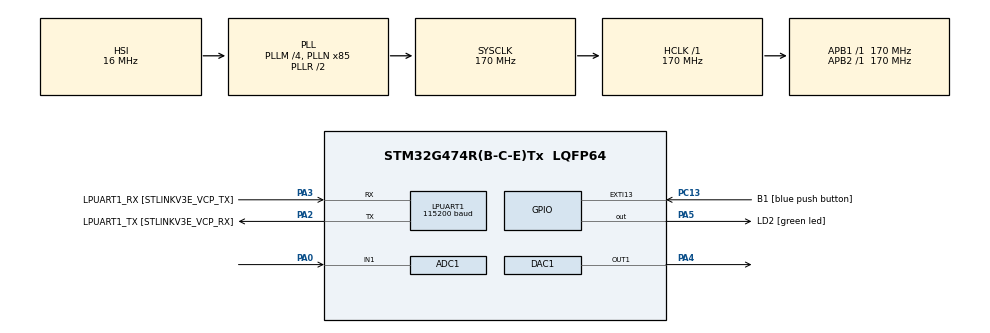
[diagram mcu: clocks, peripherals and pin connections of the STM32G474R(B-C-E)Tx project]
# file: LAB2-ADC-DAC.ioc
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ADC1.Channel-0\#ChannelRegularConversion=ADC_CHANNEL_1
ADC1.NbrOfConversionFlag=1
ADC1.OffsetNumber-0\#ChannelRegularConversion=ADC_OFFSET_NONE
ADC1.Rank-0\#ChannelRegularConversion=1
ADC1.Resolution=ADC_RESOLUTION_10B
ADC1.SamplingTime-0\#ChannelRegularConversion=ADC_SAMPLETIME_2CYCLES_5
ADC1.master=1
LPUART1.BaudRate=115200
LPUART1.WordLength=UART_WORDLENGTH_8B
Mcu.Family=STM32G4
Mcu.Name=STM32G474R(B-C-E)Tx
Mcu.Package=LQFP64
NVIC.EXTI15_10_IRQn=true\:0\:0\:false\:false\:true\:true\:true\:true
NVIC.PriorityGroup=NVIC_PRIORITYGROUP_4
PA0.Mode=IN1-Single-Ended
PA0.Signal=ADC1_IN1
PA13.GPIO_Label=T_SWDIO
PA13.Mode=Serial_Wire
PA13.Signal=SYS_JTMS-SWDIO
PA14.GPIO_Label=T_SWCLK
PA14.Mode=Serial_Wire
PA14.Signal=SYS_JTCK-SWCLK
PA2.GPIO_Label=LPUART1_TX [STLINKV3E_VCP_RX]
PA2.Mode=Asynchronous
PA2.Signal=LPUART1_TX
PA3.GPIO_Label=LPUART1_RX [STLINKV3E_VCP_TX]
PA3.Mode=Asynchronous
PA3.Signal=LPUART1_RX
PA4.Signal=COMP_DAC11_group
PA5.GPIO_Label=LD2 [green led]
PA5.Signal=GPIO_Output
PB3.GPIO_Label=T_SWO
PB3.Signal=SYS_JTDO-SWO
PC13.GPIO_Label=B1 [blue push button]
PC13.Signal=GPXTI13
PC14-OSC32_IN.Mode=LSE-External-Oscillator
PC14-OSC32_IN.Signal=RCC_OSC32_IN
PC15-OSC32_OUT.Mode=LSE-External-Oscillator
PC15-OSC32_OUT.Signal=RCC_OSC32_OUT
PF0-OSC_IN.Mode=HSE-External-Oscillator
PF0-OSC_IN.Signal=RCC_OSC_IN
PF1-OSC_OUT.Mode=HSE-External-Oscillator
PF1-OSC_OUT.Signal=RCC_OSC_OUT
ProjectManager.HeapSize=0x200
ProjectManager.StackSize=0x400
ProjectManager.TargetToolchain=STM32CubeIDE
RCC.ADC12Freq_Value=170000000
RCC.ADC345Freq_Value=170000000
RCC.AHBFreq_Value=170000000
RCC.APB1Freq_Value=170000000
RCC.APB1TimFreq_Value=170000000
RCC.APB2Freq_Value=170000000
RCC.APB2TimFreq_Value=170000000
RCC.CortexFreq_Value=170000000
RCC.EXTERNAL_CLOCK_VALUE=12288000
RCC.HCLKFreq_Value=170000000
RCC.HSE_VALUE=24000000
RCC.HSI48_VALUE=48000000
RCC.HSI_VALUE=16000000
RCC.PLLM=RCC_PLLM_DIV4
RCC.PLLN=85
RCC.RTCClockSelection=RCC_RTCCLKSOURCE_LSE
RCC.SYSCLKFreq_VALUE=170000000
RCC.SYSCLKSource=RCC_SYSCLKSOURCE_PLLCLK
RCC.USBFreq_Value=170000000
RCC.VCOOutputFreq_Value=340000000
SH.COMP_DAC11_group.0=DAC1_OUT1,DAC_OUT1
VP_SYS_VS_DBSignals.Mode=DisableDeadBatterySignals
board=NUCLEO-G474RE

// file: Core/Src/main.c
/* USER CODE BEGIN Header */
/**
  ******************************************************************************
  * @file           : main.c
  * @brief          : Main program body
  ******************************************************************************
  * @attention
  *
  * Copyright (c) 2023 STMicroelectronics.
  * All rights reserved.
  *
  * This software is licensed under terms that can be found in the LICENSE file
  * in the root directory of this software component.
  * If no LICENSE file comes with this software, it is provided AS-IS.
  *
  ******************************************************************************
  */
/* USER CODE END Header */
#include "main.h"

ADC_HandleTypeDef hadc1;

DAC_HandleTypeDef hdac1;

UART_HandleTypeDef hlpuart1;

/* USER CODE BEGIN PV */
struct _ADC_tag
{
	ADC_ChannelConfTypeDef Config;
	uint16_t data;
};

struct _ADC_tag ADC1_Channel =
{
	.Config.Channel = ADC_CHANNEL_1,
	.Config.Rank = ADC_REGULAR_RANK_1,
	.Config.SamplingTime = ADC_SAMPLETIME_640CYCLES_5,
	.Config.SingleDiff = ADC_SINGLE_ENDED,
	.Config.OffsetNumber = ADC_OFFSET_NONE,
	.Config.Offset = 0,
	.data = 0
};

float Voltage_Ref =  3.3;

//ADC Variable
uint16_t ADC_Resolution = 1024;
float Voltage_Read;
float LSB_ADC;

//DAC Variable
uint16_t DAC_Resolution = 4096;
uint16_t DAC_Output = 0;
float Voltage_Output;
/* USER CODE END PV */

void SystemClock_Config(void);
static void MX_GPIO_Init(void);
static void MX_LPUART1_UART_Init(void);
static void MX_ADC1_Init(void);
static void MX_DAC1_Init(void);
/* USER CODE BEGIN PFP */
void ADC_Read_blocking();
void DAC_Update();
void OutV_to_DAC();
/* USER CODE END PFP */

int main(void)
{

  /* MCU Configuration--------------------------------------------------------*/

  /* Reset of all peripherals, Initializes the Flash interface and the Systick. */
  HAL_Init();

  /* Configure the system clock */
  SystemClock_Config();

  /* Initialize all configured peripherals */
  MX_GPIO_Init();
  MX_LPUART1_UART_Init();
  MX_ADC1_Init();
  MX_DAC1_Init();
  /* USER CODE BEGIN 2 */
  HAL_DAC_SetValue(&hdac1, DAC_CHANNEL_1, DAC_ALIGN_12B_R, 2048);
  HAL_DAC_Start(&hdac1, DAC_CHANNEL_1);
  /* USER CODE END 2 */

  /* Infinite loop */
  while (1)
  {

    /* USER CODE BEGIN 3 */
	  ADC_Read_blocking();
	  DAC_Update();
  }
  /* USER CODE END 3 */
}

void SystemClock_Config(void)
{
  RCC_OscInitTypeDef RCC_OscInitStruct = {0};
  RCC_ClkInitTypeDef RCC_ClkInitStruct = {0};

  /** Configure the main internal regulator output voltage
  */
  HAL_PWREx_ControlVoltageScaling(PWR_REGULATOR_VOLTAGE_SCALE1_BOOST);

  /** Initializes the RCC Oscillators according to the specified parameters
  * in the RCC_OscInitTypeDef structure.
  */
  RCC_OscInitStruct.OscillatorType = RCC_OSCILLATORTYPE_HSI;
  RCC_OscInitStruct.HSIState = RCC_HSI_ON;
  RCC_OscInitStruct.HSICalibrationValue = RCC_HSICALIBRATION_DEFAULT;
  RCC_OscInitStruct.PLL.PLLState = RCC_PLL_ON;
  RCC_OscInitStruct.PLL.PLLSource = RCC_PLLSOURCE_HSI;
  RCC_OscInitStruct.PLL.PLLM = RCC_PLLM_DIV4;
  RCC_OscInitStruct.PLL.PLLN = 85;
  RCC_OscInitStruct.PLL.PLLP = RCC_PLLP_DIV2;
  RCC_OscInitStruct.PLL.PLLQ = RCC_PLLQ_DIV2;
  RCC_OscInitStruct.PLL.PLLR = RCC_PLLR_DIV2;
  if (HAL_RCC_OscConfig(&RCC_OscInitStruct) != HAL_OK)
  {
    Error_Handler();
  }

  /** Initializes the CPU, AHB and APB buses clocks
  */
  RCC_ClkInitStruct.ClockType = RCC_CLOCKTYPE_HCLK|RCC_CLOCKTYPE_SYSCLK
                              |RCC_CLOCKTYPE_PCLK1|RCC_CLOCKTYPE_PCLK2;
  RCC_ClkInitStruct.SYSCLKSource = RCC_SYSCLKSOURCE_PLLCLK;
  RCC_ClkInitStruct.AHBCLKDivider = RCC_SYSCLK_DIV1;
  RCC_ClkInitStruct.APB1CLKDivider = RCC_HCLK_DIV1;
  RCC_ClkInitStruct.APB2CLKDivider = RCC_HCLK_DIV1;

  if (HAL_RCC_ClockConfig(&RCC_ClkInitStruct, FLASH_LATENCY_4) != HAL_OK)
  {
    Error_Handler();
  }
}

static void MX_ADC1_Init(void)
{

  ADC_MultiModeTypeDef multimode = {0};
  ADC_ChannelConfTypeDef sConfig = {0};

  /** Common config
  */
  hadc1.Instance = ADC1;
  hadc1.Init.ClockPrescaler = ADC_CLOCK_SYNC_PCLK_DIV4;
  hadc1.Init.Resolution = ADC_RESOLUTION_10B;
  hadc1.Init.DataAlign = ADC_DATAALIGN_RIGHT;
  hadc1.Init.GainCompensation = 0;
  hadc1.Init.ScanConvMode = ADC_SCAN_DISABLE;
  hadc1.Init.EOCSelection = ADC_EOC_SINGLE_CONV;
  hadc1.Init.LowPowerAutoWait = DISABLE;
  hadc1.Init.ContinuousConvMode = DISABLE;
  hadc1.Init.NbrOfConversion = 1;
  hadc1.Init.DiscontinuousConvMode = DISABLE;
  hadc1.Init.ExternalTrigConv = ADC_SOFTWARE_START;
  hadc1.Init.ExternalTrigConvEdge = ADC_EXTERNALTRIGCONVEDGE_NONE;
  hadc1.Init.DMAContinuousRequests = DISABLE;
  hadc1.Init.Overrun = ADC_OVR_DATA_PRESERVED;
  hadc1.Init.OversamplingMode = DISABLE;
  if (HAL_ADC_Init(&hadc1) != HAL_OK)
  {
    Error_Handler();
  }

  /** Configure the ADC multi-mode
  */
  multimode.Mode = ADC_MODE_INDEPENDENT;
  if (HAL_ADCEx_MultiModeConfigChannel(&hadc1, &multimode) != HAL_OK)
  {
    Error_Handler();
  }

  /** Configure Regular Channel
  */
  sConfig.Channel = ADC_CHANNEL_1;
  sConfig.Rank = ADC_REGULAR_RANK_1;
  sConfig.SamplingTime = ADC_SAMPLETIME_2CYCLES_5;
  sConfig.SingleDiff = ADC_SINGLE_ENDED;
  sConfig.OffsetNumber = ADC_OFFSET_NONE;
  sConfig.Offset = 0;
  if (HAL_ADC_ConfigChannel(&hadc1, &sConfig) != HAL_OK)
  {
    Error_Handler();
  }

}

static void MX_DAC1_Init(void)
{

  DAC_ChannelConfTypeDef sConfig = {0};

  /** DAC Initialization
  */
  hdac1.Instance = DAC1;
  if (HAL_DAC_Init(&hdac1) != HAL_OK)
  {
    Error_Handler();
  }

  /** DAC channel OUT1 config
  */
  sConfig.DAC_HighFrequency = DAC_HIGH_FREQUENCY_INTERFACE_MODE_AUTOMATIC;
  sConfig.DAC_DMADoubleDataMode = DISABLE;
  sConfig.DAC_SignedFormat = DISABLE;
  sConfig.DAC_SampleAndHold = DAC_SAMPLEANDHOLD_DISABLE;
  sConfig.DAC_Trigger = DAC_TRIGGER_NONE;
  sConfig.DAC_Trigger2 = DAC_TRIGGER_NONE;
  sConfig.DAC_OutputBuffer = DAC_OUTPUTBUFFER_ENABLE;
  sConfig.DAC_ConnectOnChipPeripheral = DAC_CHIPCONNECT_EXTERNAL;
  sConfig.DAC_UserTrimming = DAC_TRIMMING_FACTORY;
  if (HAL_DAC_ConfigChannel(&hdac1, &sConfig, DAC_CHANNEL_1) != HAL_OK)
  {
    Error_Handler();
  }

}

static void MX_LPUART1_UART_Init(void)
{

  hlpuart1.Instance = LPUART1;
  hlpuart1.Init.BaudRate = 115200;
  hlpuart1.Init.WordLength = UART_WORDLENGTH_8B;
  hlpuart1.Init.StopBits = UART_STOPBITS_1;
  hlpuart1.Init.Parity = UART_PARITY_NONE;
  hlpuart1.Init.Mode = UART_MODE_TX_RX;
  hlpuart1.Init.HwFlowCtl = UART_HWCONTROL_NONE;
  hlpuart1.Init.OneBitSampling = UART_ONE_BIT_SAMPLE_DISABLE;
  hlpuart1.Init.ClockPrescaler = UART_PRESCALER_DIV1;
  hlpuart1.AdvancedInit.AdvFeatureInit = UART_ADVFEATURE_NO_INIT;
  if (HAL_UART_Init(&hlpuart1) != HAL_OK)
  {
    Error_Handler();
  }
  if (HAL_UARTEx_SetTxFifoThreshold(&hlpuart1, UART_TXFIFO_THRESHOLD_1_8) != HAL_OK)
  {
    Error_Handler();
  }
  if (HAL_UARTEx_SetRxFifoThreshold(&hlpuart1, UART_RXFIFO_THRESHOLD_1_8) != HAL_OK)
  {
    Error_Handler();
  }
  if (HAL_UARTEx_DisableFifoMode(&hlpuart1) != HAL_OK)
  {
    Error_Handler();
  }

}

static void MX_GPIO_Init(void)
{
  GPIO_InitTypeDef GPIO_InitStruct = {0};

  /* GPIO Ports Clock Enable */
  __HAL_RCC_GPIOC_CLK_ENABLE();
  __HAL_RCC_GPIOF_CLK_ENABLE();
  __HAL_RCC_GPIOA_CLK_ENABLE();
  __HAL_RCC_GPIOB_CLK_ENABLE();

  /*Configure GPIO pin Output Level */
  HAL_GPIO_WritePin(LD2_GPIO_Port, LD2_Pin, GPIO_PIN_RESET);

  /*Configure GPIO pin : B1_Pin */
  GPIO_InitStruct.Pin = B1_Pin;
  GPIO_InitStruct.Mode = GPIO_MODE_IT_RISING;
  GPIO_InitStruct.Pull = GPIO_NOPULL;
  HAL_GPIO_Init(B1_GPIO_Port, &GPIO_InitStruct);

  /*Configure GPIO pin : LD2_Pin */
  GPIO_InitStruct.Pin = LD2_Pin;
  GPIO_InitStruct.Mode = GPIO_MODE_OUTPUT_PP;
  GPIO_InitStruct.Pull = GPIO_NOPULL;
  GPIO_InitStruct.Speed = GPIO_SPEED_FREQ_LOW;
  HAL_GPIO_Init(LD2_GPIO_Port, &GPIO_InitStruct);

  /* EXTI interrupt init*/
  HAL_NVIC_SetPriority(EXTI15_10_IRQn, 0, 0);
  HAL_NVIC_EnableIRQ(EXTI15_10_IRQn);

}

/* USER CODE BEGIN 4 */
//ADC Function
void ADC_Read_blocking()
{
	LSB_ADC = Voltage_Ref / ADC_Resolution;
	static uint32_t TimeStamp = 0;

	if(HAL_GetTick()<TimeStamp) return;

	else if(HAL_GetTick() > TimeStamp)
	{
		TimeStamp = HAL_GetTick() + 500; //500 ms delay
		HAL_ADC_ConfigChannel(&hadc1, &ADC1_Channel.Config);
		HAL_ADC_Start(&hadc1);
		HAL_ADC_PollForConversion(&hadc1, 100);
		ADC1_Channel.data = HAL_ADC_GetValue(&hadc1);
		Voltage_Read = (LSB_ADC * ADC1_Channel.data) * 1000;
		HAL_ADC_Stop(&hadc1);
	}
}

//DAC Function
void OutV_to_DAC()
{
	GPIO_PinState B1 = HAL_GPIO_ReadPin(GPIOC, GPIO_PIN_13);
	if (B1 == 1)
	{
		Voltage_Output = Voltage_Read;
	}
	DAC_Output = ((Voltage_Output / 1000) / Voltage_Ref) * (DAC_Resolution - 1);
//	Voltage_Output = DAC_Output * (Voltage_Ref / DAC_Resolution);
}
void DAC_Update()
{
	static uint32_t timeStamp = 0;
	if(HAL_GetTick() > timeStamp)
	{
		timeStamp = HAL_GetTick() + 750; //750 ms delay
		OutV_to_DAC();
		HAL_DAC_SetValue(&hdac1, DAC_CHANNEL_1, DAC_ALIGN_12B_R, DAC_Output);
	}
}
/* USER CODE END 4 */

void Error_Handler(void)
{
  __disable_irq();
  while (1)
  {
  }
}
